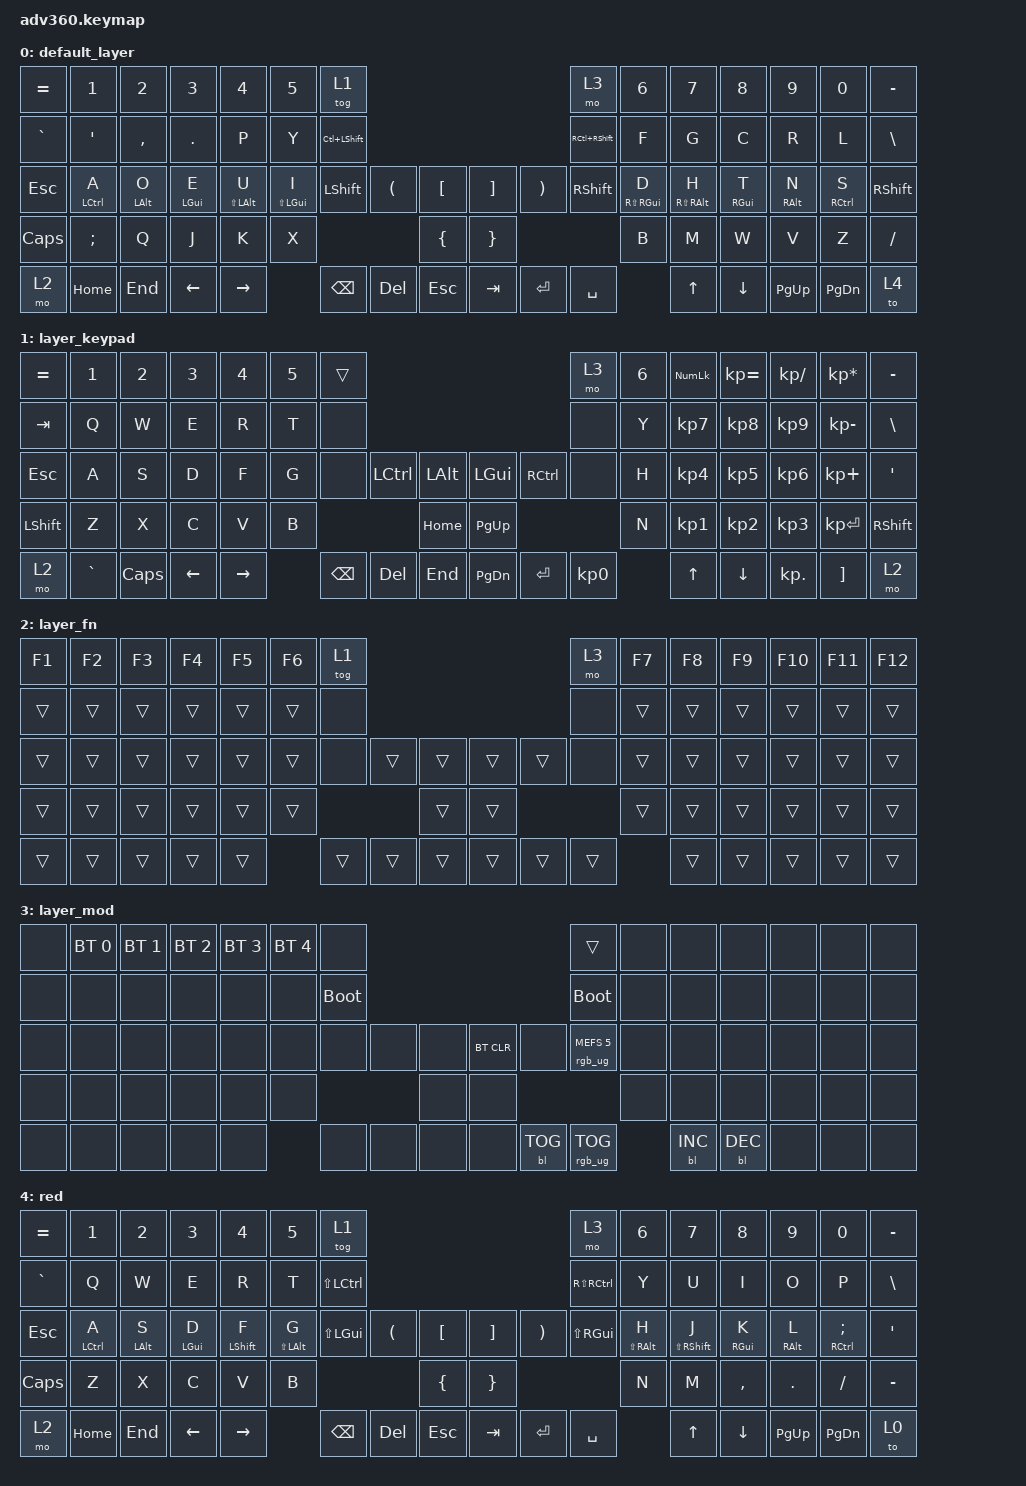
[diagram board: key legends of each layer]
/*
 * Copyright (c) 2020 The ZMK Contributors
 *
 * SPDX-License-Identifier: MIT
 */
/* THIS FILE WAS GENERATED!
 *
 * This file was generated automatically. You may or may not want to
 * edit it directly.
 */

#include <dt-bindings/zmk/stp.h>
#include <behaviors.dtsi>
#include <dt-bindings/zmk/backlight.h>
#include <dt-bindings/zmk/bt.h>
#include <dt-bindings/zmk/keys.h>
#include <dt-bindings/zmk/rgb.h>

/ {
    behaviors {
        #include "macros.dtsi"
      #include "version.dtsi"

        hm: homerow_mods {
            compatible = "zmk,behavior-hold-tap";
            label = "HOMEROW_MODS";
            #binding-cells = <2>;
            tapping-term-ms = <200>;
            quick_tap_ms = <175>;
            flavor = "tap-preferred";
            bindings = <&kp>, <&kp>;
        };
    };

    keymap {
        compatible = "zmk,keymap";

        default_layer {
            bindings = <
&kp EQUAL   &kp N1       &kp N2      &kp N3      &kp N4          &kp N5          &tog 1                                                         &mo 3           &kp N6          &kp N7          &kp N8      &kp N9      &kp N0       &kp MINUS
&kp GRAVE   &kp APOS     &kp COMMA   &kp PERIOD  &kp P           &kp Y           &kp LC(LSHIFT)                                                 &kp RC(RSHIFT)  &kp F           &kp G           &kp C       &kp R       &kp L        &kp BSLH
&kp ESCAPE  &hm LCTRL A  &hm LALT O  &hm LGUI E  &hm LS(LALT) U  &hm LS(LGUI) I  &kp LSHIFT      &kp LPAR  &kp LBKT        &kp RBKT  &kp RPAR   &kp RSHIFT      &hm RS(RGUI) D  &hm RS(RALT) H  &hm RGUI T  &hm RALT N  &hm RCTRL S  &kp RSHIFT
&kp CAPS    &kp SEMI     &kp Q       &kp J       &kp K           &kp X                                     &kp LBRC        &kp RBRC                             &kp B           &kp M           &kp W       &kp V       &kp Z        &kp SLASH
&mo 2       &kp HOME     &kp END     &kp LEFT    &kp RIGHT                       &kp BSPC        &kp DEL   &kp ESCAPE      &kp TAB   &kp ENTER  &kp SPACE                       &kp UP          &kp DOWN    &kp PG_UP   &kp PG_DN    &to 4
            >;
        };

        layer_keypad {
            bindings = <
&kp EQUAL  &kp N1     &kp N2    &kp N3    &kp N4     &kp N5  &trans                                                   &mo 3      &kp N6  &kp KP_NUM  &kp KP_EQUAL  &kp KP_DIVIDE  &kp KP_MULTIPLY  &kp MINUS
&kp TAB    &kp Q      &kp W     &kp E     &kp R      &kp T   &none                                                    &none      &kp Y   &kp KP_N7   &kp KP_N8     &kp KP_N9      &kp KP_MINUS     &kp BSLH
&kp ESC    &kp A      &kp S     &kp D     &kp F      &kp G   &none     &kp LCTRL  &kp LALT      &kp LGUI   &kp RCTRL  &none      &kp H   &kp KP_N4   &kp KP_N5     &kp KP_N6      &kp KP_PLUS      &kp SQT
&kp LSHFT  &kp Z      &kp X     &kp C     &kp V      &kp B                        &kp HOME      &kp PG_UP                        &kp N   &kp KP_N1   &kp KP_N2     &kp KP_N3      &kp KP_ENTER     &kp RSHFT
&mo 2      &kp GRAVE  &kp CAPS  &kp LEFT  &kp RIGHT          &kp BSPC  &kp DEL    &kp END       &kp PG_DN  &kp ENTER  &kp KP_N0          &kp UP      &kp DOWN      &kp KP_DOT     &kp RBKT         &mo 2
            >;
        };

        layer_fn {
            bindings = <
&kp F1  &kp F2  &kp F3  &kp F4  &kp F5  &kp F6  &tog 1                                      &mo 3   &kp F7  &kp F8  &kp F9  &kp F10  &kp F11  &kp F12
&trans  &trans  &trans  &trans  &trans  &trans  &none                                       &none   &trans  &trans  &trans  &trans   &trans   &trans
&trans  &trans  &trans  &trans  &trans  &trans  &none   &trans  &trans      &trans  &trans  &none   &trans  &trans  &trans  &trans   &trans   &trans
&trans  &trans  &trans  &trans  &trans  &trans                  &trans      &trans                  &trans  &trans  &trans  &trans   &trans   &trans
&trans  &trans  &trans  &trans  &trans          &trans  &trans  &trans      &trans  &trans  &trans          &trans  &trans  &trans   &trans   &trans
            >;
        };

        layer_mod {
            bindings = <
&none  &bt BT_SEL 0  &bt BT_SEL 1  &bt BT_SEL 2  &bt BT_SEL 3  &bt BT_SEL 4  &none                                                  &trans                  &none  &none       &none       &none  &none  &none
&none  &none         &none         &none         &none         &none         &bootloader                                            &bootloader             &none  &none       &none       &none  &none  &none
&none  &none         &none         &none         &none         &none         &none        &none  &none      &bt BT_CLR  &none       &rgb_ug RGB_MEFS_CMD 5  &none  &none       &none       &none  &none  &none
&none  &none         &none         &none         &none         &none                             &none      &none                                           &none  &none       &none       &none  &none  &none
&none  &none         &none         &none         &none                       &none        &none  &none      &none       &bl BL_TOG  &rgb_ug RGB_TOG                &bl BL_INC  &bl BL_DEC  &none  &none  &none
            >;
        };

        red {
            bindings = <
&kp EQUAL  &kp N1       &kp N2      &kp N3      &kp N4            &kp N5          &tog 1                                                     &mo 3          &kp N6          &kp N7            &kp N8      &kp N9      &kp N0               &kp MINUS
&kp GRAVE  &kp Q        &kp W       &kp E       &kp R             &kp T           &kp LS(LCTRL)                                              &kp RS(RCTRL)  &kp Y           &kp U             &kp I       &kp O       &kp P                &kp BSLH
&kp ESC    &hm LCTRL A  &mt LALT S  &hm LGUI D  &hm LEFT_SHIFT F  &mt LS(LALT) G  &kp LS(LGUI)   &kp LPAR  &kp LBKT      &kp RBKT  &kp RPAR  &kp LS(RGUI)   &mt LS(RALT) H  &mt LS(RSHIFT) J  &mt RGUI K  &mt RALT L  &mt RCTRL SEMICOLON  &kp APOS
&kp CAPS   &kp Z        &kp X       &kp C       &kp V             &kp B                                    &kp LBRC      &kp RBRC                           &kp N           &kp M             &kp COMMA   &kp DOT     &kp FSLH             &kp MINUS
&mo 2      &kp HOME     &kp END     &kp LEFT    &kp RIGHT                         &kp BSPC       &kp DEL   &kp ESC       &kp TAB   &kp RET   &kp SPACE                      &kp UP            &kp DOWN    &kp PG_UP   &kp PG_DN            &to 0
            >;
        };
    };
};
